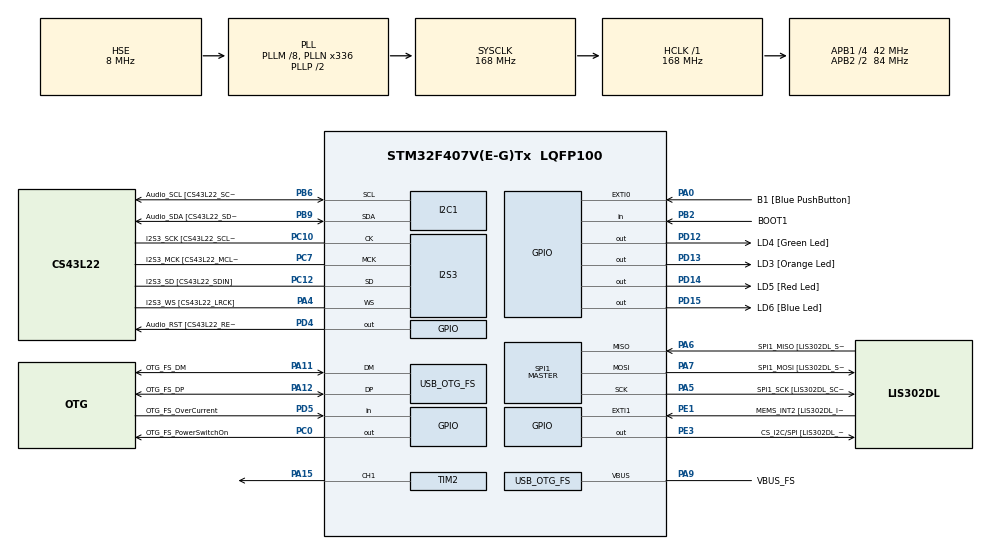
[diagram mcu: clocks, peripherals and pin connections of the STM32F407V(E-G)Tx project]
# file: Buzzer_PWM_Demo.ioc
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I2S3.AudioFreq-Half_Duplex_Master=I2S_AUDIOFREQ_96K
I2S3.ErrorAudioFreq=-2.34 %
I2S3.ErrorAudioFreq-Half_Duplex_Master=0.8 %
I2S3.FullDuplexMode=I2S_FULLDUPLEXMODE_DISABLE
I2S3.Instance=SPI$Index
I2S3.RealAudioFreq=93.75 KHz
I2S3.RealAudioFreq-Half_Duplex_Master=96.774 KHz
I2S3.VirtualMode=I2S_MODE_MASTER
Mcu.Family=STM32F4
Mcu.Name=STM32F407V(E-G)Tx
Mcu.Package=LQFP100
NVIC.OTG_FS_IRQn=true\:0\:0\:false\:false\:true\:true\:true
NVIC.PriorityGroup=NVIC_PRIORITYGROUP_0
PA0-WKUP.GPIO_Label=B1 [Blue PushButton]
PA0-WKUP.GPIO_ModeDefaultEXTI=GPIO_MODE_EVT_RISING
PA0-WKUP.GPIO_PuPd=GPIO_NOPULL
PA0-WKUP.Signal=GPXTI0
PA10.GPIO_Label=OTG_FS_ID
PA10.GPIO_Mode=GPIO_MODE_AF_PP
PA10.GPIO_PuPd=GPIO_NOPULL
PA10.GPIO_Speed=GPIO_SPEED_FREQ_LOW
PA10.Signal=USB_OTG_FS_ID
PA11.GPIO_Label=OTG_FS_DM
PA11.GPIO_Mode=GPIO_MODE_AF_PP
PA11.GPIO_PuPd=GPIO_NOPULL
PA11.GPIO_Speed=GPIO_SPEED_FREQ_LOW
PA11.Mode=Device_Only
PA11.Signal=USB_OTG_FS_DM
PA12.GPIO_Label=OTG_FS_DP
PA12.GPIO_Mode=GPIO_MODE_AF_PP
PA12.GPIO_PuPd=GPIO_NOPULL
PA12.GPIO_Speed=GPIO_SPEED_FREQ_LOW
PA12.Mode=Device_Only
PA12.Signal=USB_OTG_FS_DP
PA13.GPIO_Label=SWDIO
PA13.Mode=Serial_Wire
PA13.Signal=SYS_JTMS-SWDIO
PA14.GPIO_Label=SWCLK
PA14.Mode=Serial_Wire
PA14.Signal=SYS_JTCK-SWCLK
PA15.Signal=S_TIM2_CH1_ETR
PA4.GPIO_Label=I2S3_WS [CS43L22_LRCK]
PA4.GPIO_Mode=GPIO_MODE_AF_PP
PA4.GPIO_PuPd=GPIO_NOPULL
PA4.GPIO_Speed=GPIO_SPEED_FREQ_LOW
PA4.Mode=Half_Duplex_Master
PA4.Signal=I2S3_WS
PA5.GPIO_Label=SPI1_SCK [LIS302DL_SCL/SPC]
PA5.GPIO_Mode=GPIO_MODE_AF_PP
PA5.GPIO_PuPd=GPIO_NOPULL
PA5.GPIO_Speed=GPIO_SPEED_FREQ_LOW
PA5.Mode=Full_Duplex_Master
PA5.Signal=SPI1_SCK
PA6.GPIO_Label=SPI1_MISO [LIS302DL_SDO]
PA6.GPIO_Mode=GPIO_MODE_AF_PP
PA6.GPIO_PuPd=GPIO_NOPULL
PA6.GPIO_Speed=GPIO_SPEED_FREQ_LOW
PA6.Mode=Full_Duplex_Master
PA6.Signal=SPI1_MISO
PA7.GPIO_Label=SPI1_MOSI [LIS302DL_SDA/SDI/SDO]
PA7.GPIO_Mode=GPIO_MODE_AF_PP
PA7.GPIO_PuPd=GPIO_NOPULL
PA7.GPIO_Speed=GPIO_SPEED_FREQ_LOW
PA7.Mode=Full_Duplex_Master
PA7.Signal=SPI1_MOSI
PA9.GPIO_Label=VBUS_FS
PA9.GPIO_Mode=GPIO_MODE_INPUT
PA9.GPIO_PuPd=GPIO_NOPULL
PA9.Mode=Activate_VBUS
PA9.Signal=USB_OTG_FS_VBUS
PB10.GPIO_Label=CLK_IN [MP45DT02_CLK]
PB10.GPIO_Mode=GPIO_MODE_AF_PP
PB10.GPIO_PuPd=GPIO_NOPULL
PB10.GPIO_Speed=GPIO_SPEED_FREQ_LOW
PB10.Signal=I2S2_CK
PB2.GPIO_Label=BOOT1
PB2.GPIO_Mode=GPIO_MODE_INPUT
PB2.GPIO_PuPd=GPIO_NOPULL
PB2.Signal=GPIO_Input
PB3.GPIO_Label=SWO
PB3.Signal=SYS_JTDO-SWO
PB6.GPIO_Label=Audio_SCL [CS43L22_SCL]
PB6.GPIO_Mode=GPIO_MODE_AF_OD
PB6.GPIO_Pu=GPIO_PULLUP
PB6.GPIO_PuPd=GPIO_NOPULL
PB6.GPIO_Speed=GPIO_SPEED_FREQ_LOW
PB6.Mode=I2C
PB6.Signal=I2C1_SCL
PB9.GPIO_Label=Audio_SDA [CS43L22_SDA]
PB9.GPIO_Mode=GPIO_MODE_AF_OD
PB9.GPIO_Pu=GPIO_PULLUP
PB9.GPIO_PuPd=GPIO_NOPULL
PB9.GPIO_Speed=GPIO_SPEED_FREQ_LOW
PB9.Mode=I2C
PB9.Signal=I2C1_SDA
PC0.GPIO_Label=OTG_FS_PowerSwitchOn
PC0.GPIO_PuPd=GPIO_NOPULL
PC0.GPIO_Speed=GPIO_SPEED_FREQ_LOW
PC0.PinState=GPIO_PIN_SET
PC0.Signal=GPIO_Output
PC10.GPIO_Label=I2S3_SCK [CS43L22_SCLK]
PC10.GPIO_Mode=GPIO_MODE_AF_PP
PC10.GPIO_PuPd=GPIO_NOPULL
PC10.GPIO_Speed=GPIO_SPEED_FREQ_LOW
PC10.Mode=Half_Duplex_Master
PC10.Signal=I2S3_CK
PC12.GPIO_Label=I2S3_SD [CS43L22_SDIN]
PC12.GPIO_Mode=GPIO_MODE_AF_PP
PC12.GPIO_PuPd=GPIO_NOPULL
PC12.GPIO_Speed=GPIO_SPEED_FREQ_LOW
PC12.Mode=Half_Duplex_Master
PC12.Signal=I2S3_SD
PC14-OSC32_IN.GPIO_Label=PC14-OSC32_IN
PC14-OSC32_IN.Mode=LSE-External-Oscillator
PC14-OSC32_IN.Signal=RCC_OSC32_IN
PC15-OSC32_OUT.GPIO_Label=PC15-OSC32_OUT
PC15-OSC32_OUT.Mode=LSE-External-Oscillator
PC15-OSC32_OUT.Signal=RCC_OSC32_OUT
PC3.GPIO_Label=PDM_OUT [MP45DT02_DOUT]
PC3.GPIO_Mode=GPIO_MODE_AF_PP
PC3.GPIO_PuPd=GPIO_NOPULL
PC3.GPIO_Speed=GPIO_SPEED_FREQ_LOW
PC3.Signal=I2S2_SD
PC7.GPIO_Label=I2S3_MCK [CS43L22_MCLK]
PC7.GPIO_Mode=GPIO_MODE_AF_PP
PC7.GPIO_PuPd=GPIO_NOPULL
PC7.GPIO_Speed=GPIO_SPEED_FREQ_LOW
PC7.Mode=Master_Clock_Activated
PC7.Signal=I2S3_MCK
PD12.GPIO_Label=LD4 [Green Led]
PD12.GPIO_PuPd=GPIO_NOPULL
PD12.GPIO_Speed=GPIO_SPEED_FREQ_LOW
PD12.Signal=GPIO_Output
PD13.GPIO_Label=LD3 [Orange Led]
PD13.GPIO_PuPd=GPIO_NOPULL
PD13.GPIO_Speed=GPIO_SPEED_FREQ_LOW
PD13.Signal=GPIO_Output
PD14.GPIO_Label=LD5 [Red Led]
PD14.GPIO_PuPd=GPIO_NOPULL
PD14.GPIO_Speed=GPIO_SPEED_FREQ_LOW
PD14.Signal=GPIO_Output
PD15.GPIO_Label=LD6 [Blue Led]
PD15.GPIO_PuPd=GPIO_NOPULL
PD15.GPIO_Speed=GPIO_SPEED_FREQ_LOW
PD15.Signal=GPIO_Output
PD4.GPIO_Label=Audio_RST [CS43L22_RESET]
PD4.GPIO_PuPd=GPIO_NOPULL
PD4.GPIO_Speed=GPIO_SPEED_FREQ_LOW
PD4.Signal=GPIO_Output
PD5.GPIO_Label=OTG_FS_OverCurrent
PD5.GPIO_Mode=GPIO_MODE_INPUT
PD5.GPIO_PuPd=GPIO_NOPULL
PD5.Signal=GPIO_Input
PE1.GPIO_Label=MEMS_INT2 [LIS302DL_INT2]
PE1.GPIO_ModeDefaultEXTI=GPIO_MODE_EVT_RISING
PE1.GPIO_PuPd=GPIO_NOPULL
PE1.Signal=GPXTI1
PE3.GPIO_Label=CS_I2C/SPI [LIS302DL_CS_I2C/SPI]
PE3.GPIO_PuPd=GPIO_NOPULL
PE3.GPIO_Speed=GPIO_SPEED_FREQ_LOW
PE3.Signal=GPIO_Output
PH0-OSC_IN.GPIO_Label=PH0-OSC_IN
PH0-OSC_IN.Mode=HSE-External-Oscillator
PH0-OSC_IN.Signal=RCC_OSC_IN
PH1-OSC_OUT.GPIO_Label=PH1-OSC_OUT
PH1-OSC_OUT.Mode=HSE-External-Oscillator
PH1-OSC_OUT.Signal=RCC_OSC_OUT
ProjectManager.HeapSize=0x200
ProjectManager.StackSize=0x400
ProjectManager.TargetToolchain=STM32CubeIDE
RCC.48MHZClocksFreq_Value=48000000
RCC.AHBFreq_Value=168000000
RCC.APB1CLKDivider=RCC_HCLK_DIV4
RCC.APB1Freq_Value=42000000
RCC.APB1TimFreq_Value=84000000
RCC.APB2CLKDivider=RCC_HCLK_DIV2
RCC.APB2Freq_Value=84000000
RCC.APB2TimFreq_Value=168000000
RCC.CortexFreq_Value=168000000
RCC.HCLKFreq_Value=168000000
RCC.HSE_VALUE=8000000
RCC.HSI_VALUE=16000000
RCC.PLLM=8
RCC.PLLN=336
RCC.PLLQ=7
RCC.SYSCLKFreq_VALUE=168000000
RCC.SYSCLKSource=RCC_SYSCLKSOURCE_PLLCLK
RCC.VCOOutputFreq_Value=336000000
SH.S_TIM2_CH1_ETR.0=TIM2_CH1,PWM Generation1 CH1
SPI1.BaudRatePrescaler-Full_Duplex_Master=SPI_BAUDRATEPRESCALER_2
SPI1.CalculateBaudRate-Full_Duplex_Master=42.0 MBits/s
SPI1.Direction=SPI_DIRECTION_2LINES
SPI1.Mode=SPI_MODE_MASTER
SPI1.Mode-Full_Duplex_Master=SPI_MODE_MASTER
SPI1.VirtualType=VM_MASTER
TIM2.Channel-PWM\ Generation1\ CH1=TIM_CHANNEL_1
TIM2.Period=0
TIM2.Prescaler=83
USB_DEVICE.CLASS_NAME_FS=CDC
USB_DEVICE.VirtualMode-CDC_FS=Cdc
USB_DEVICE.VirtualModeFS=Cdc_FS
USB_OTG_FS.VirtualMode=Device_Only
VP_TIM2_VS_ClockSourceINT.Mode=Internal
VP_USB_DEVICE_VS_USB_DEVICE_CDC_FS.Mode=CDC_FS
board=STM32F407G-DISC1

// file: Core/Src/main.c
/* USER CODE BEGIN Header */
/**
  ******************************************************************************
  * @file           : main.c
  * @brief          : Main program body
  ******************************************************************************
  * @attention
  *
  * <h2><center>&copy; Copyright (c) 2021 STMicroelectronics.
  * All rights reserved.</center></h2>
  *
  * This software component is licensed by ST under Ultimate Liberty license
  * SLA0044, the "License"; You may not use this file except in compliance with
  * the License. You may obtain a copy of the License at:
  *                             www.st.com/SLA0044
  *
  ******************************************************************************
  */
/* USER CODE END Header */
#include "main.h"
#include "usb_device.h"

/* USER CODE BEGIN Includes */
#include "melody.h"
/* USER CODE END Includes */

I2C_HandleTypeDef hi2c1;

I2S_HandleTypeDef hi2s3;

SPI_HandleTypeDef hspi1;

TIM_HandleTypeDef htim2;

/* USER CODE BEGIN PV */
#define BUFSIZE 256
char SendBuffer[BUFSIZE];
int	Counter;
int KeyState=0;

/* USER CODE END PV */

void SystemClock_Config(void);
static void MX_GPIO_Init(void);
static void MX_I2C1_Init(void);
static void MX_I2S3_Init(void);
static void MX_SPI1_Init(void);
static void MX_TIM2_Init(void);
/* USER CODE BEGIN PFP */
static void setPWM(TIM_HandleTypeDef, uint32_t, uint16_t, uint16_t);
/* USER CODE END PFP */

/* USER CODE BEGIN 0 */
void setPWM(TIM_HandleTypeDef timer, uint32_t channel, uint16_t period, uint16_t pulse)
{
	 HAL_TIM_PWM_Stop(&timer, channel); // stop generation of pwm
	 TIM_OC_InitTypeDef sConfigOC;
	 timer.Init.Period = period; // set the period duration
	 HAL_TIM_PWM_Init(&timer); // reinititialise with new period value
	 sConfigOC.OCMode = TIM_OCMODE_PWM1;
	 sConfigOC.Pulse = pulse; // set the pulse duration
	 sConfigOC.OCPolarity = TIM_OCPOLARITY_HIGH;
	 sConfigOC.OCFastMode = TIM_OCFAST_DISABLE;
	 HAL_TIM_PWM_ConfigChannel(&timer, &sConfigOC, channel);
	 HAL_TIM_PWM_Start(&timer, channel); // start pwm generation
}
/* USER CODE END 0 */

int main(void)
{
  /* USER CODE BEGIN 1 */
int ARR_period;
int melodyIndex;
int noteIndex;
int melodyCount;
int NoteFreq;
int Delaymsecs;

  /* USER CODE END 1 */

  /* MCU Configuration--------------------------------------------------------*/

  /* Reset of all peripherals, Initializes the Flash interface and the Systick. */
  HAL_Init();

  /* Configure the system clock */
  SystemClock_Config();

  /* Initialize all configured peripherals */
  MX_GPIO_Init();
  MX_I2C1_Init();
  MX_I2S3_Init();
  MX_SPI1_Init();
  MX_TIM2_Init();
  MX_USB_DEVICE_Init();
  /* USER CODE BEGIN 2 */

  HAL_TIM_PWM_Start(&htim2, TIM_CHANNEL_1);

  /* USER CODE END 2 */

  /* Infinite loop */
  /* USER CODE BEGIN WHILE */
  while (1)
  {

	  melodyCount = sizeof(melodySizes)/ sizeof(uint32_t);

	  for(melodyIndex = 0; melodyIndex < melodyCount; melodyIndex++)
	  {
		  for(noteIndex = 0; noteIndex < melodySizes[melodyIndex]; noteIndex++)
	  	  {
//		  	  buzzerSetNewFrequency(melody[melodyIndex][noteIndex]);
			  NoteFreq = melody[melodyIndex][noteIndex];
			  if (NoteFreq == 0) NoteFreq = 1;

			  ARR_period = (int)(1000000/NoteFreq);  //Already prescaled to 1 MHz
			  setPWM(htim2, TIM_CHANNEL_1, ARR_period, ARR_period/2);

			  Delaymsecs = noteDurations[melodyIndex][noteIndex] * melodySlowfactor[melodyIndex];

			  snprintf (SendBuffer,BUFSIZE,"Melody[%d],Note #%d F=%d Hz Duration:%d ms| ARR=%d CCR1=%d\r\n",melodyIndex,noteIndex,melody[melodyIndex][noteIndex],Delaymsecs,htim2.Instance->ARR,htim2.Instance->CCR1);
	          CDC_Transmit_FS(SendBuffer,strlen(SendBuffer));

		  	  HAL_Delay(Delaymsecs);
	  	  }
		  snprintf (SendBuffer,BUFSIZE,"\r\n\r\nEnd of Melody[%d]\r\n\r\n",melodyIndex);
	      CDC_Transmit_FS(SendBuffer,strlen(SendBuffer));

	  }

    /* USER CODE END WHILE */

    /* USER CODE BEGIN 3 */
	  snprintf (SendBuffer,BUFSIZE,"\r\n\r\nEnd of All Melodies[%d]\r\n\r\n",melodyIndex);
      CDC_Transmit_FS(SendBuffer,strlen(SendBuffer));

      HAL_Delay(2000);

  }
  /* USER CODE END 3 */
}

void SystemClock_Config(void)
{
  RCC_OscInitTypeDef RCC_OscInitStruct = {0};
  RCC_ClkInitTypeDef RCC_ClkInitStruct = {0};

  /** Configure the main internal regulator output voltage
  */
  __HAL_RCC_PWR_CLK_ENABLE();
  __HAL_PWR_VOLTAGESCALING_CONFIG(PWR_REGULATOR_VOLTAGE_SCALE1);
  /** Initializes the RCC Oscillators according to the specified parameters
  * in the RCC_OscInitTypeDef structure.
  */
  RCC_OscInitStruct.OscillatorType = RCC_OSCILLATORTYPE_HSE;
  RCC_OscInitStruct.HSEState = RCC_HSE_ON;
  RCC_OscInitStruct.PLL.PLLState = RCC_PLL_ON;
  RCC_OscInitStruct.PLL.PLLSource = RCC_PLLSOURCE_HSE;
  RCC_OscInitStruct.PLL.PLLM = 8;
  RCC_OscInitStruct.PLL.PLLN = 336;
  RCC_OscInitStruct.PLL.PLLP = RCC_PLLP_DIV2;
  RCC_OscInitStruct.PLL.PLLQ = 7;
  if (HAL_RCC_OscConfig(&RCC_OscInitStruct) != HAL_OK)
  {
    Error_Handler();
  }
  /** Initializes the CPU, AHB and APB buses clocks
  */
  RCC_ClkInitStruct.ClockType = RCC_CLOCKTYPE_HCLK|RCC_CLOCKTYPE_SYSCLK
                              |RCC_CLOCKTYPE_PCLK1|RCC_CLOCKTYPE_PCLK2;
  RCC_ClkInitStruct.SYSCLKSource = RCC_SYSCLKSOURCE_PLLCLK;
  RCC_ClkInitStruct.AHBCLKDivider = RCC_SYSCLK_DIV1;
  RCC_ClkInitStruct.APB1CLKDivider = RCC_HCLK_DIV4;
  RCC_ClkInitStruct.APB2CLKDivider = RCC_HCLK_DIV2;

  if (HAL_RCC_ClockConfig(&RCC_ClkInitStruct, FLASH_LATENCY_5) != HAL_OK)
  {
    Error_Handler();
  }
}

static void MX_I2C1_Init(void)
{

  hi2c1.Instance = I2C1;
  hi2c1.Init.ClockSpeed = 100000;
  hi2c1.Init.DutyCycle = I2C_DUTYCYCLE_2;
  hi2c1.Init.OwnAddress1 = 0;
  hi2c1.Init.AddressingMode = I2C_ADDRESSINGMODE_7BIT;
  hi2c1.Init.DualAddressMode = I2C_DUALADDRESS_DISABLE;
  hi2c1.Init.OwnAddress2 = 0;
  hi2c1.Init.GeneralCallMode = I2C_GENERALCALL_DISABLE;
  hi2c1.Init.NoStretchMode = I2C_NOSTRETCH_DISABLE;
  if (HAL_I2C_Init(&hi2c1) != HAL_OK)
  {
    Error_Handler();
  }

}

static void MX_I2S3_Init(void)
{

  hi2s3.Instance = SPI3;
  hi2s3.Init.Mode = I2S_MODE_MASTER_TX;
  hi2s3.Init.Standard = I2S_STANDARD_PHILIPS;
  hi2s3.Init.DataFormat = I2S_DATAFORMAT_16B;
  hi2s3.Init.MCLKOutput = I2S_MCLKOUTPUT_ENABLE;
  hi2s3.Init.AudioFreq = I2S_AUDIOFREQ_96K;
  hi2s3.Init.CPOL = I2S_CPOL_LOW;
  hi2s3.Init.ClockSource = I2S_CLOCK_PLL;
  hi2s3.Init.FullDuplexMode = I2S_FULLDUPLEXMODE_DISABLE;
  if (HAL_I2S_Init(&hi2s3) != HAL_OK)
  {
    Error_Handler();
  }

}

static void MX_SPI1_Init(void)
{

  /* SPI1 parameter configuration*/
  hspi1.Instance = SPI1;
  hspi1.Init.Mode = SPI_MODE_MASTER;
  hspi1.Init.Direction = SPI_DIRECTION_2LINES;
  hspi1.Init.DataSize = SPI_DATASIZE_8BIT;
  hspi1.Init.CLKPolarity = SPI_POLARITY_LOW;
  hspi1.Init.CLKPhase = SPI_PHASE_1EDGE;
  hspi1.Init.NSS = SPI_NSS_SOFT;
  hspi1.Init.BaudRatePrescaler = SPI_BAUDRATEPRESCALER_2;
  hspi1.Init.FirstBit = SPI_FIRSTBIT_MSB;
  hspi1.Init.TIMode = SPI_TIMODE_DISABLE;
  hspi1.Init.CRCCalculation = SPI_CRCCALCULATION_DISABLE;
  hspi1.Init.CRCPolynomial = 10;
  if (HAL_SPI_Init(&hspi1) != HAL_OK)
  {
    Error_Handler();
  }

}

static void MX_TIM2_Init(void)
{

  TIM_ClockConfigTypeDef sClockSourceConfig = {0};
  TIM_MasterConfigTypeDef sMasterConfig = {0};
  TIM_OC_InitTypeDef sConfigOC = {0};

  htim2.Instance = TIM2;
  htim2.Init.Prescaler = 83;
  htim2.Init.CounterMode = TIM_COUNTERMODE_UP;
  htim2.Init.Period = 0;
  htim2.Init.ClockDivision = TIM_CLOCKDIVISION_DIV1;
  htim2.Init.AutoReloadPreload = TIM_AUTORELOAD_PRELOAD_DISABLE;
  if (HAL_TIM_Base_Init(&htim2) != HAL_OK)
  {
    Error_Handler();
  }
  sClockSourceConfig.ClockSource = TIM_CLOCKSOURCE_INTERNAL;
  if (HAL_TIM_ConfigClockSource(&htim2, &sClockSourceConfig) != HAL_OK)
  {
    Error_Handler();
  }
  if (HAL_TIM_PWM_Init(&htim2) != HAL_OK)
  {
    Error_Handler();
  }
  sMasterConfig.MasterOutputTrigger = TIM_TRGO_RESET;
  sMasterConfig.MasterSlaveMode = TIM_MASTERSLAVEMODE_DISABLE;
  if (HAL_TIMEx_MasterConfigSynchronization(&htim2, &sMasterConfig) != HAL_OK)
  {
    Error_Handler();
  }
  sConfigOC.OCMode = TIM_OCMODE_PWM1;
  sConfigOC.Pulse = 0;
  sConfigOC.OCPolarity = TIM_OCPOLARITY_HIGH;
  sConfigOC.OCFastMode = TIM_OCFAST_DISABLE;
  if (HAL_TIM_PWM_ConfigChannel(&htim2, &sConfigOC, TIM_CHANNEL_1) != HAL_OK)
  {
    Error_Handler();
  }
  HAL_TIM_MspPostInit(&htim2);

}

static void MX_GPIO_Init(void)
{
  GPIO_InitTypeDef GPIO_InitStruct = {0};

  /* GPIO Ports Clock Enable */
  __HAL_RCC_GPIOE_CLK_ENABLE();
  __HAL_RCC_GPIOC_CLK_ENABLE();
  __HAL_RCC_GPIOH_CLK_ENABLE();
  __HAL_RCC_GPIOA_CLK_ENABLE();
  __HAL_RCC_GPIOB_CLK_ENABLE();
  __HAL_RCC_GPIOD_CLK_ENABLE();

  /*Configure GPIO pin Output Level */
  HAL_GPIO_WritePin(CS_I2C_SPI_GPIO_Port, CS_I2C_SPI_Pin, GPIO_PIN_RESET);

  /*Configure GPIO pin Output Level */
  HAL_GPIO_WritePin(OTG_FS_PowerSwitchOn_GPIO_Port, OTG_FS_PowerSwitchOn_Pin, GPIO_PIN_SET);

  /*Configure GPIO pin Output Level */
  HAL_GPIO_WritePin(GPIOD, LD4_Pin|LD3_Pin|LD5_Pin|LD6_Pin
                          |Audio_RST_Pin, GPIO_PIN_RESET);

  /*Configure GPIO pin : CS_I2C_SPI_Pin */
  GPIO_InitStruct.Pin = CS_I2C_SPI_Pin;
  GPIO_InitStruct.Mode = GPIO_MODE_OUTPUT_PP;
  GPIO_InitStruct.Pull = GPIO_NOPULL;
  GPIO_InitStruct.Speed = GPIO_SPEED_FREQ_LOW;
  HAL_GPIO_Init(CS_I2C_SPI_GPIO_Port, &GPIO_InitStruct);

  /*Configure GPIO pin : OTG_FS_PowerSwitchOn_Pin */
  GPIO_InitStruct.Pin = OTG_FS_PowerSwitchOn_Pin;
  GPIO_InitStruct.Mode = GPIO_MODE_OUTPUT_PP;
  GPIO_InitStruct.Pull = GPIO_NOPULL;
  GPIO_InitStruct.Speed = GPIO_SPEED_FREQ_LOW;
  HAL_GPIO_Init(OTG_FS_PowerSwitchOn_GPIO_Port, &GPIO_InitStruct);

  /*Configure GPIO pin : PDM_OUT_Pin */
  GPIO_InitStruct.Pin = PDM_OUT_Pin;
  GPIO_InitStruct.Mode = GPIO_MODE_AF_PP;
  GPIO_InitStruct.Pull = GPIO_NOPULL;
  GPIO_InitStruct.Speed = GPIO_SPEED_FREQ_LOW;
  GPIO_InitStruct.Alternate = GPIO_AF5_SPI2;
  HAL_GPIO_Init(PDM_OUT_GPIO_Port, &GPIO_InitStruct);

  /*Configure GPIO pin : B1_Pin */
  GPIO_InitStruct.Pin = B1_Pin;
  GPIO_InitStruct.Mode = GPIO_MODE_EVT_RISING;
  GPIO_InitStruct.Pull = GPIO_NOPULL;
  HAL_GPIO_Init(B1_GPIO_Port, &GPIO_InitStruct);

  /*Configure GPIO pin : BOOT1_Pin */
  GPIO_InitStruct.Pin = BOOT1_Pin;
  GPIO_InitStruct.Mode = GPIO_MODE_INPUT;
  GPIO_InitStruct.Pull = GPIO_NOPULL;
  HAL_GPIO_Init(BOOT1_GPIO_Port, &GPIO_InitStruct);

  /*Configure GPIO pin : CLK_IN_Pin */
  GPIO_InitStruct.Pin = CLK_IN_Pin;
  GPIO_InitStruct.Mode = GPIO_MODE_AF_PP;
  GPIO_InitStruct.Pull = GPIO_NOPULL;
  GPIO_InitStruct.Speed = GPIO_SPEED_FREQ_LOW;
  GPIO_InitStruct.Alternate = GPIO_AF5_SPI2;
  HAL_GPIO_Init(CLK_IN_GPIO_Port, &GPIO_InitStruct);

  /*Configure GPIO pins : LD4_Pin LD3_Pin LD5_Pin LD6_Pin
                           Audio_RST_Pin */
  GPIO_InitStruct.Pin = LD4_Pin|LD3_Pin|LD5_Pin|LD6_Pin
                          |Audio_RST_Pin;
  GPIO_InitStruct.Mode = GPIO_MODE_OUTPUT_PP;
  GPIO_InitStruct.Pull = GPIO_NOPULL;
  GPIO_InitStruct.Speed = GPIO_SPEED_FREQ_LOW;
  HAL_GPIO_Init(GPIOD, &GPIO_InitStruct);

  /*Configure GPIO pin : OTG_FS_OverCurrent_Pin */
  GPIO_InitStruct.Pin = OTG_FS_OverCurrent_Pin;
  GPIO_InitStruct.Mode = GPIO_MODE_INPUT;
  GPIO_InitStruct.Pull = GPIO_NOPULL;
  HAL_GPIO_Init(OTG_FS_OverCurrent_GPIO_Port, &GPIO_InitStruct);

  /*Configure GPIO pin : MEMS_INT2_Pin */
  GPIO_InitStruct.Pin = MEMS_INT2_Pin;
  GPIO_InitStruct.Mode = GPIO_MODE_EVT_RISING;
  GPIO_InitStruct.Pull = GPIO_NOPULL;
  HAL_GPIO_Init(MEMS_INT2_GPIO_Port, &GPIO_InitStruct);

}

void Error_Handler(void)
{
  __disable_irq();
  while (1)
  {
  }
}
